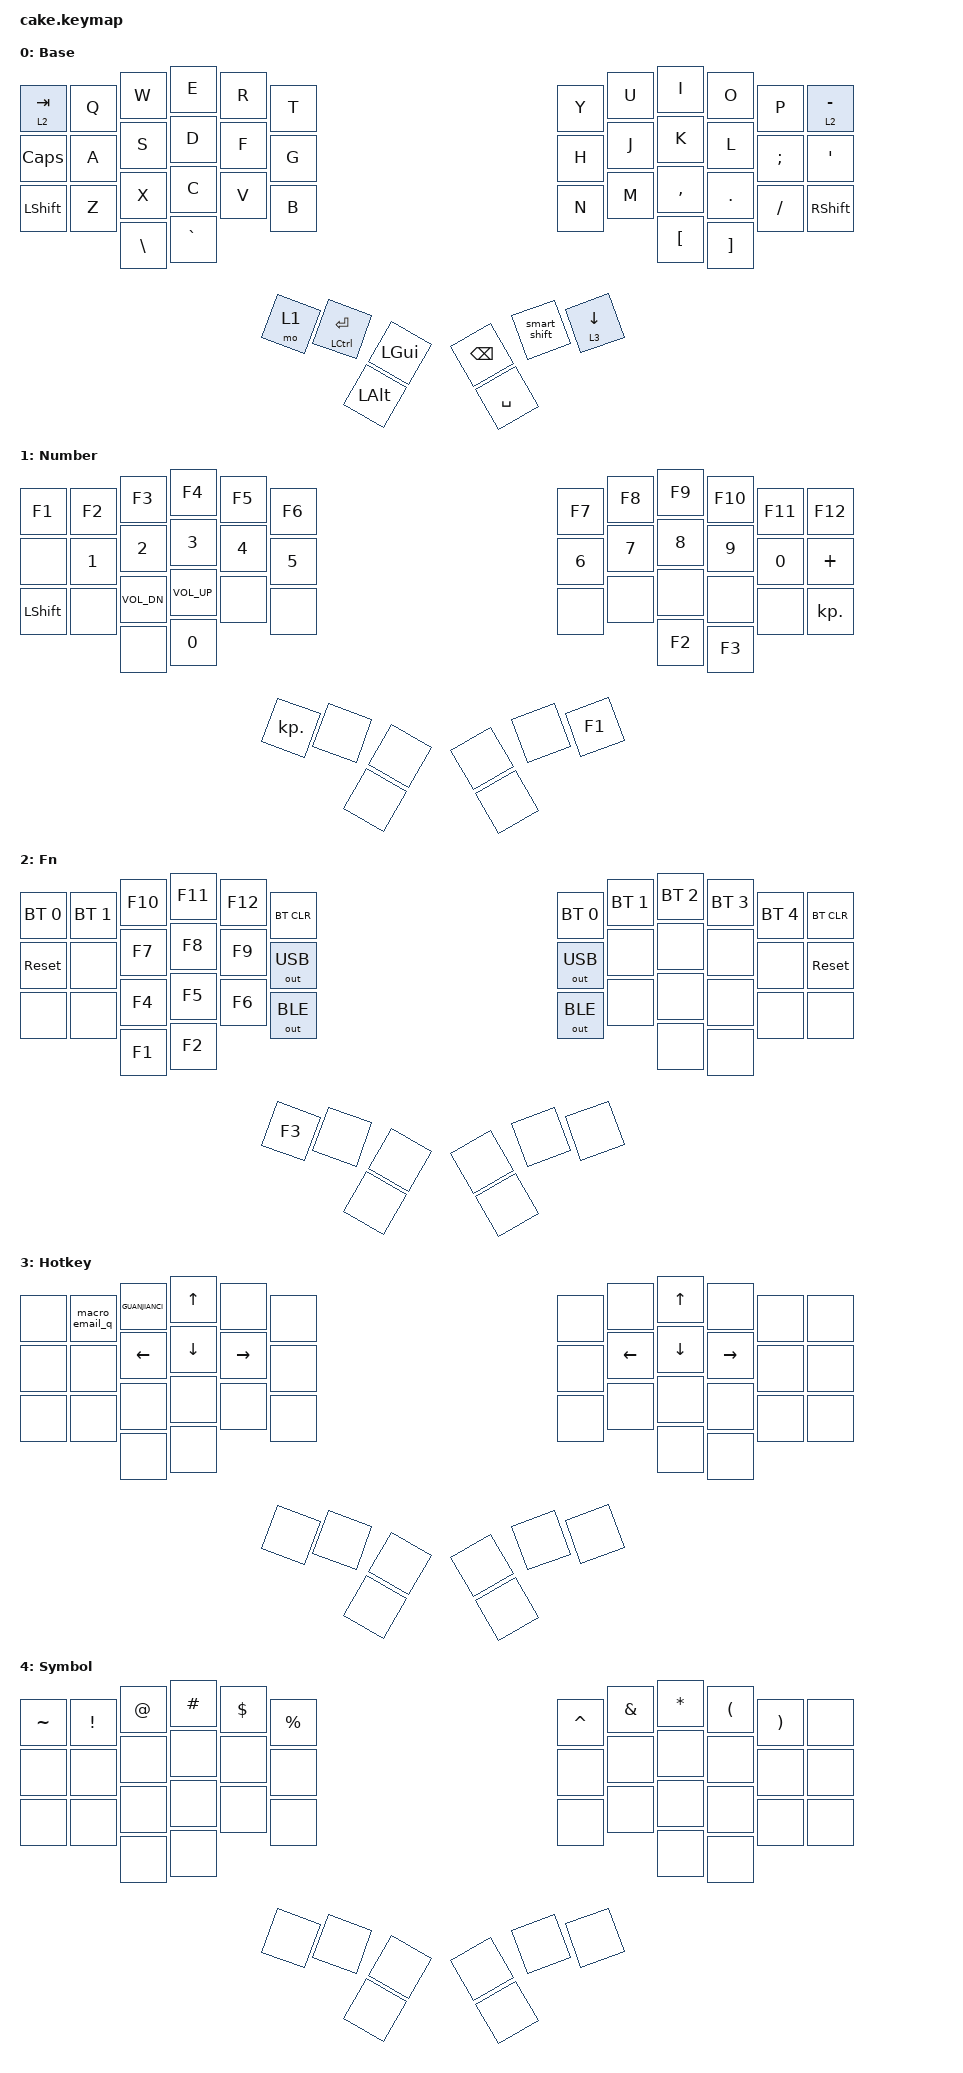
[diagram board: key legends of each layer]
#include <behaviors.dtsi>
#include <dt-bindings/zmk/bt.h>
#include <dt-bindings/zmk/keys.h>
#include <dt-bindings/zmk/outputs.h>

#define DEFAULT 0
#define NUMBER  1
#define FN  2
#define HOTKEY  3
#define SYMBOL  4

#define AS(keycode) &as LS(keycode) keycode

/ {
    

    behaviors {
    
        smart_shift: smart_shift {
            compatible = "zmk,behavior-mod-morph";
            #binding-cells = <0>;
            bindings = <&sk LSHFT>, <&caps_word>;
            mods = <(MOD_LSFT|MOD_RSFT)>;
        };
       
    };


    macros {
        macro_email_q: macro_email_q {
            // 714448168@qq.com

            label = "MACRO_EMAIL_QQ";
            compatible = "zmk,behavior-macro";
            #binding-cells = <0>;
            bindings = <&kp N7 &kp N1 &kp N4 &kp N4 &kp N4 &kp N8 &kp N1 &kp N6 &kp N8 &kp AT &kp Q &kp Q &kp DOT &kp C &kp O &kp M>;
        };

        GUANJIANCI: GUANJIANCI {
            compatible = "zmk,behavior-macro";
            label = "new_macro";
            #binding-cells = <0>;
            bindings = <&kp LSHIFT &kp LBKT &kp RBKT &kp LEFT &kp LSHIFT>;
        };
    };

    combos {
        compatible = "zmk,combos";

        combo_lbrc {
            timeout-ms = <50>;
            key-positions = <4 5>; // KP: VB
            bindings = <&mt RBRC LBRC>; // }{
            layers = <0 1 2 3 4 5>;
        };

        combo_rbrc {
            timeout-ms = <50>;
            key-positions = <6 7>; // KP: NM
            bindings = <&kp RBRC>; // }
            layers = <0 1 2 3 4 5>;
        };

        combo_lpar {
            timeout-ms = <50>;
            key-positions = <16 17>; // KP: FG
            bindings = <&mt RPAR LPAR>; // )(
            layers = <0 1 2 3 4 5>;
        };

        combo_rpar {
            timeout-ms = <50>;
            key-positions = <18 19>; // KP: HJ
            bindings = <&kp RPAR>; // )
            layers = <0 1 2 3 4 5>;
        };

        combo_lbkt {
            timeout-ms = <50>;
            key-positions = <28 29>; // KP: RT
            bindings = <&mt RBKT LBKT>; // ][ // 可以用CMD+这个单手返回到代码上一个编辑的地方 或者网页返回
            layers = <0 1 2 3 4 5>;
        };

        combo_rbkt {
            timeout-ms = <50>;
            key-positions = <30 31>; // KP: YU
            bindings = <&kp RBKT>; // ]
            layers = <0 1 2 3 4 5>;
        };

        esc {
            timeout-ms = <50>;
            key-positions = <0 1>;
            bindings = <&kp ESC>; // ESC
            layers = <0>;
        };

        up {
            bindings = <&kp UP>;
            key-positions = <3 4>;
            layers = <0>;
            timeout-ms = <50>;
        };

        down {
            bindings = <&kp DOWN>;
            key-positions = <27 28>;
            timeout-ms = <50>;
            layers = <0>;
        };

        left {
            bindings = <&kp LEFT>;
            key-positions = <14 15>;
            layers = <0>;
            timeout-ms = <50>;
        };

        right {
            bindings = <&kp RIGHT>;
            key-positions = <15 16>;
            layers = <0>;
            timeout-ms = <50>;
        };
        reset_bootloader {
            bindings = <&bootloader>;
            key-positions = <24 35>;
            layers = <0>;
            timeout-ms = <50>;
        };

    

        rup {
            bindings = <&kp UP>;
            key-positions = <7 8>;
            layers = <0 1>;
            timeout-ms = <50>;
        };

        rdown {
            bindings = <&kp DOWN>;
            key-positions = <31 32>;
            timeout-ms = <50>;
        };

        rleft {
            bindings = <&kp LEFT>;
            key-positions = <19 20>;
            layers = <0 1>;
            timeout-ms = <50>;
        };

        rright {
            bindings = <&kp RIGHT>;
            key-positions = <20 21>;
            layers = <0 1>;
            timeout-ms = <50>;
        };

    };

    keymap {
        compatible = "zmk,keymap";

        default_layer {
            label = "DEFAULT";
            display-name = "Base";
            bindings = <
&lt 2 TAB     &kp Q  &kp W           &kp E         &kp R         &kp T  &kp Y          &kp U     &kp I      &kp O      &kp P     &lt 2 MINUS
&kp CAPSLOCK  &kp A  &kp S           &kp D         &kp F         &kp G  &kp H          &kp J     &kp K      &kp L      &kp SEMI  &kp SQT
&kp LSHFT     &kp Z  &kp X           &kp C         &kp V         &kp B  &kp N          &kp M     &kp COMMA  &kp DOT    &kp FSLH  &kp RSHFT
&kp LEFT_ALT  &kp LGUI               &kp BSLH   &kp GRAVE         &mo 1   &mt LCTRL ENTER             &smart_shift &lt 3 DOWN      &kp LBKT   &kp RBKT  &kp BACKSPACE   &kp SPACE                                      
            >;
        };

        number_layer {
            label = "NUMBER";
            display-name = "Number";
            bindings = <
&kp F1        &kp F2         &kp F3        &kp F4         &kp F5      &kp F6      &kp F7  &kp F8   &kp F9   &kp F10   &kp F11   &kp F12
&none         &kp N1         &kp N2        &kp N3         &kp N4      &kp N5      &kp N6  &kp N7   &kp N8   &kp N9    &kp N0    &kp PLUS
&kp LSHFT     &none      &kp C_VOL_DN  &kp C_VOL_UP   &none       &none       &none   &none    &none    &none     &none     &kp KP_DOT
&none   &none         &none   &kp N0  &kp KP_DOT  &none   &none              &kp F1   &kp F2   &kp F3   &none   &none
                            
            >;
        };

        fn_layer {
            label = "FN";
            display-name = "Fn";
            bindings = <
&bt BT_SEL 0  &bt BT_SEL 1  &kp F10  &kp F11  &kp F12  &bt BT_CLR    &bt BT_SEL 0  &bt BT_SEL 1  &bt BT_SEL 2  &bt BT_SEL 3  &bt BT_SEL 4  &bt BT_CLR
&sys_reset    &none         &kp F7   &kp F8   &kp F9   &out OUT_USB  &out OUT_USB  &none         &none         &none         &none         &sys_reset
&none         &none         &kp F4   &kp F5   &kp F6   &out OUT_BLE  &out OUT_BLE  &none         &none         &none         &none         &none
&none        &none        &kp F1   &kp F2   &kp F3    &none    &none        &none         &none         &none       &none    &none
                        
            >;
        };

        hotkey_layer {
            label = "HOTKEY";
            display-name = "Hotkey";
            bindings = <
&none  &macro_email_q  &GUANJIANCI  &kp UP    &none      &none  &none  &none     &kp UP    &none      &none  &none
&none  &none           &kp LEFT     &kp DOWN  &kp RIGHT  &none  &none  &kp LEFT  &kp DOWN  &kp RIGHT  &none  &none
&none  &none           &none        &none     &none      &none  &none  &none     &none     &none      &none  &none
&none  &none           &none        &none     &none      &none  &none  &none     &none     &none      &none  &none
            >;
        };

        symbol_layer {
            label = "SYMBOL";
            display-name = "Symbol";
            bindings = <
&kp TILDE  &kp EXCL  &kp AT  &kp POUND  &kp DLLR  &kp PRCNT  &kp CARET  &kp AMPS  &kp STAR  &kp LPAR  &kp RPAR  &none
&none      &none     &none   &none      &none     &none      &none      &none     &none     &none     &none     &none
&none      &none     &none   &none      &none     &none      &none      &none     &none     &none     &none     &none
&none      &none     &none   &none      &none     &none      &none      &none     &none     &none     &none     &none
            >;
        };
    };
};
